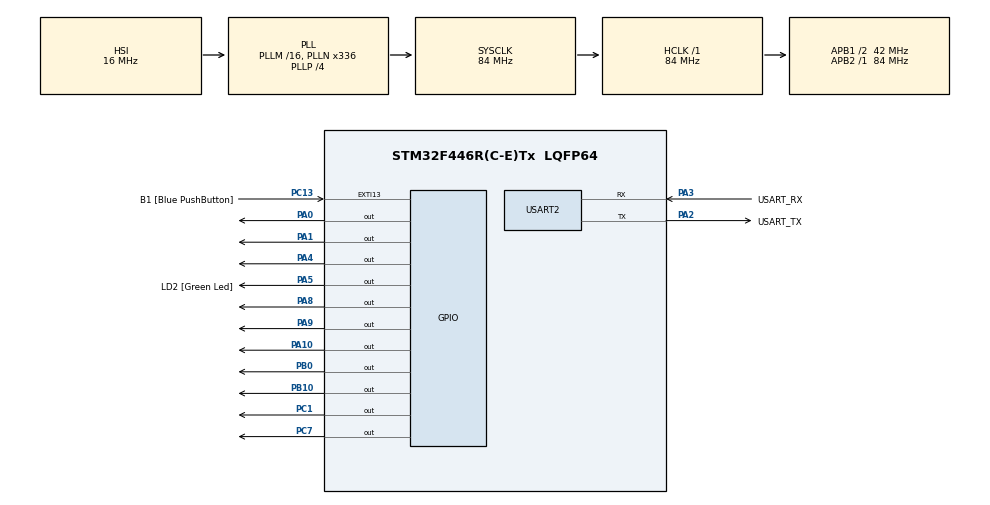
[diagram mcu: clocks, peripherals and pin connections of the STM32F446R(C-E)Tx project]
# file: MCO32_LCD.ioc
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Mcu.Family=STM32F4
Mcu.Name=STM32F446R(C-E)Tx
Mcu.Package=LQFP64
NVIC.PriorityGroup=NVIC_PRIORITYGROUP_0
PA0-WKUP.Signal=GPIO_Output
PA1.Signal=GPIO_Output
PA10.Signal=GPIO_Output
PA13.GPIO_Label=TMS
PA13.Mode=Serial_Wire
PA13.Signal=SYS_JTMS-SWDIO
PA14.GPIO_Label=TCK
PA14.Mode=Serial_Wire
PA14.Signal=SYS_JTCK-SWCLK
PA2.GPIO_Label=USART_TX
PA2.Mode=Asynchronous
PA2.Signal=USART2_TX
PA3.GPIO_Label=USART_RX
PA3.Mode=Asynchronous
PA3.Signal=USART2_RX
PA4.Signal=GPIO_Output
PA5.GPIO_Label=LD2 [Green Led]
PA5.Signal=GPIO_Output
PA8.Signal=GPIO_Output
PA9.Signal=GPIO_Output
PB0.Signal=GPIO_Output
PB10.Signal=GPIO_Output
PB3.GPIO_Label=SWO
PB3.Signal=SYS_JTDO-SWO
PC1.Signal=GPIO_Output
PC13.GPIO_Label=B1 [Blue PushButton]
PC13.GPIO_ModeDefaultEXTI=GPIO_MODE_IT_FALLING
PC13.Signal=GPXTI13
PC14-OSC32_IN.Mode=LSE-External-Oscillator
PC14-OSC32_IN.Signal=RCC_OSC32_IN
PC15-OSC32_OUT.Mode=LSE-External-Oscillator
PC15-OSC32_OUT.Signal=RCC_OSC32_OUT
PC7.Signal=GPIO_Output
PH0-OSC_IN.Mode=HSE-External-Oscillator
PH0-OSC_IN.Signal=RCC_OSC_IN
PH1-OSC_OUT.Mode=HSE-External-Oscillator
PH1-OSC_OUT.Signal=RCC_OSC_OUT
ProjectManager.HeapSize=0x200
ProjectManager.StackSize=0x400
ProjectManager.TargetToolchain=STM32CubeIDE
RCC.48MHZClocksFreq_Value=84000000
RCC.AHBFreq_Value=84000000
RCC.APB1CLKDivider=RCC_HCLK_DIV2
RCC.APB1Freq_Value=42000000
RCC.APB1TimFreq_Value=84000000
RCC.APB2Freq_Value=84000000
RCC.APB2TimFreq_Value=84000000
RCC.CortexFreq_Value=84000000
RCC.FLatency-AdvancedSettings=FLASH_LATENCY_2
RCC.HCLKFreq_Value=84000000
RCC.HSE_VALUE=8000000
RCC.HSI_VALUE=16000000
RCC.PLLN=336
RCC.PLLP=RCC_PLLP_DIV4
RCC.SYSCLKFreq_VALUE=84000000
RCC.SYSCLKSource=RCC_SYSCLKSOURCE_PLLCLK
RCC.USBFreq_Value=168000000
RCC.VCOOutputFreq_Value=336000000
TIM1.AutoReloadPreload=TIM_AUTORELOAD_PRELOAD_ENABLE
TIM1.Period=0xFFFF-1
TIM1.Prescaler=84-1
USART2.VirtualMode=VM_ASYNC
VP_TIM1_VS_ClockSourceINT.Mode=Internal
board=NUCLEO-F446RE

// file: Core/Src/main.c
/* USER CODE BEGIN Header */
/**
  ******************************************************************************
  * @file           : main.c
  * @brief          : Main program body
  ******************************************************************************
  * @attention
  *
  * Copyright (c) 2022 STMicroelectronics.
  * All rights reserved.
  *
  * This software is licensed under terms that can be found in the LICENSE file
  * in the root directory of this software component.
  * If no LICENSE file comes with this software, it is provided AS-IS.
  *
  ******************************************************************************
  */
/* USER CODE END Header */
#include "main.h"

/* USER CODE BEGIN Includes */
#include "fonts.h"
#include "tft.h"
#include "user_setting.h"
#include "functions.h"
#include "stdio.h"
/* USER CODE END Includes */

TIM_HandleTypeDef htim1;

UART_HandleTypeDef huart2;

/* USER CODE BEGIN PV */
uint16_t ID = 0;
extern const unsigned short tolkien_x236_y316[];
/* USER CODE END PV */

void SystemClock_Config(void);
static void MX_GPIO_Init(void);
static void MX_USART2_UART_Init(void);
static void MX_TIM1_Init(void);

int main(void)
{

  /* MCU Configuration--------------------------------------------------------*/

  /* Reset of all peripherals, Initializes the Flash interface and the Systick. */
  HAL_Init();

  /* USER CODE BEGIN Init */
  //tft_gpio_init();
  /* USER CODE END Init */

  /* Configure the system clock */
  SystemClock_Config();

  /* Initialize all configured peripherals */
  MX_GPIO_Init();
  MX_USART2_UART_Init();
  MX_TIM1_Init();

  /* USER CODE BEGIN 2 */
  /* Sequência de inicialização do LCD */
  tft_gpio_init(); //Inicializa os GPIOs do LCD (evita uso do CubeMX)
  HAL_TIM_Base_Start(&htim1); //Inicializa o Timer1 (base de tempo de us do LCD)
  ID = tft_readID(); //Lê o ID do LCD (poderia ser chamada pela inicialização do LCD)
  HAL_Delay(100);
  tft_init(ID); //Inicializa o LCD de acordo com seu ID
  setRotation(0); //Ajusta a orientação da tela (retrato)
  fillScreen(BLACK); //Preenche a tela em uma só cor

  /* Funções de teste do LCD */
  testFillScreen();
  testLines(CYAN);
  testFastLines(RED, BLUE);
  testFilledCircles(10, MAGENTA);
  testCircles(10, WHITE);
  fillScreen(BLACK);

  /* Demonstração de scroll de texto */
  setRotation(0); //0: Retrato | 1: Paisagem
  printnewtstr(20, GREEN, &mono12x7bold, 1, (uint8_t *)"HELLO WORLD");
  scrollup(100);
  HAL_Delay(2000);

  /* Demonstração de inversão de cores do LCD (efeito negativo)*/
  invertDisplay(1);
  HAL_Delay(2000);
  invertDisplay(0);

  /* Exibe o ID do controlador do display*/
  fillScreen(BLACK);
  char codigoID[15];
  sprintf(codigoID, "ID=%x\r\n", ID);
  printnewtstr(20, GREEN, &mono12x7bold, 1, (uint8_t *) &codigoID);
  HAL_Delay(2000);

  /**
   * Exibir imagem:
   * - Posição do canto inferior esquerdo para começar a desenhar (x, y)
   * - Endereço do vetor da imagem
   * - Dimensões em pixels (w, h)
   */
  drawRGBBitmap(1, 319, tolkien_x236_y316, 236, 316);

  /* USER CODE END 2 */

  /* Infinite loop */
  while (1)
  {

  }
}

void SystemClock_Config(void)
{
  RCC_OscInitTypeDef RCC_OscInitStruct = {0};
  RCC_ClkInitTypeDef RCC_ClkInitStruct = {0};

  /** Configure the main internal regulator output voltage
  */
  __HAL_RCC_PWR_CLK_ENABLE();
  __HAL_PWR_VOLTAGESCALING_CONFIG(PWR_REGULATOR_VOLTAGE_SCALE3);

  /** Initializes the RCC Oscillators according to the specified parameters
  * in the RCC_OscInitTypeDef structure.
  */
  RCC_OscInitStruct.OscillatorType = RCC_OSCILLATORTYPE_HSI;
  RCC_OscInitStruct.HSIState = RCC_HSI_ON;
  RCC_OscInitStruct.HSICalibrationValue = RCC_HSICALIBRATION_DEFAULT;
  RCC_OscInitStruct.PLL.PLLState = RCC_PLL_ON;
  RCC_OscInitStruct.PLL.PLLSource = RCC_PLLSOURCE_HSI;
  RCC_OscInitStruct.PLL.PLLM = 16;
  RCC_OscInitStruct.PLL.PLLN = 336;
  RCC_OscInitStruct.PLL.PLLP = RCC_PLLP_DIV4;
  RCC_OscInitStruct.PLL.PLLQ = 2;
  RCC_OscInitStruct.PLL.PLLR = 2;
  if (HAL_RCC_OscConfig(&RCC_OscInitStruct) != HAL_OK)
  {
    Error_Handler();
  }

  /** Initializes the CPU, AHB and APB buses clocks
  */
  RCC_ClkInitStruct.ClockType = RCC_CLOCKTYPE_HCLK|RCC_CLOCKTYPE_SYSCLK
                              |RCC_CLOCKTYPE_PCLK1|RCC_CLOCKTYPE_PCLK2;
  RCC_ClkInitStruct.SYSCLKSource = RCC_SYSCLKSOURCE_PLLCLK;
  RCC_ClkInitStruct.AHBCLKDivider = RCC_SYSCLK_DIV1;
  RCC_ClkInitStruct.APB1CLKDivider = RCC_HCLK_DIV2;
  RCC_ClkInitStruct.APB2CLKDivider = RCC_HCLK_DIV1;

  if (HAL_RCC_ClockConfig(&RCC_ClkInitStruct, FLASH_LATENCY_2) != HAL_OK)
  {
    Error_Handler();
  }
}

static void MX_TIM1_Init(void)
{

  TIM_ClockConfigTypeDef sClockSourceConfig = {0};
  TIM_MasterConfigTypeDef sMasterConfig = {0};

  htim1.Instance = TIM1;
  htim1.Init.Prescaler = 84-1;
  htim1.Init.CounterMode = TIM_COUNTERMODE_UP;
  htim1.Init.Period = 0xFFFF-1;
  htim1.Init.ClockDivision = TIM_CLOCKDIVISION_DIV1;
  htim1.Init.RepetitionCounter = 0;
  htim1.Init.AutoReloadPreload = TIM_AUTORELOAD_PRELOAD_ENABLE;
  if (HAL_TIM_Base_Init(&htim1) != HAL_OK)
  {
    Error_Handler();
  }
  sClockSourceConfig.ClockSource = TIM_CLOCKSOURCE_INTERNAL;
  if (HAL_TIM_ConfigClockSource(&htim1, &sClockSourceConfig) != HAL_OK)
  {
    Error_Handler();
  }
  sMasterConfig.MasterOutputTrigger = TIM_TRGO_RESET;
  sMasterConfig.MasterSlaveMode = TIM_MASTERSLAVEMODE_DISABLE;
  if (HAL_TIMEx_MasterConfigSynchronization(&htim1, &sMasterConfig) != HAL_OK)
  {
    Error_Handler();
  }

}

static void MX_USART2_UART_Init(void)
{

  huart2.Instance = USART2;
  huart2.Init.BaudRate = 115200;
  huart2.Init.WordLength = UART_WORDLENGTH_8B;
  huart2.Init.StopBits = UART_STOPBITS_1;
  huart2.Init.Parity = UART_PARITY_NONE;
  huart2.Init.Mode = UART_MODE_TX_RX;
  huart2.Init.HwFlowCtl = UART_HWCONTROL_NONE;
  huart2.Init.OverSampling = UART_OVERSAMPLING_16;
  if (HAL_UART_Init(&huart2) != HAL_OK)
  {
    Error_Handler();
  }

}

static void MX_GPIO_Init(void)
{
  GPIO_InitTypeDef GPIO_InitStruct = {0};

  /* GPIO Ports Clock Enable */
  __HAL_RCC_GPIOC_CLK_ENABLE();
  __HAL_RCC_GPIOH_CLK_ENABLE();
  __HAL_RCC_GPIOA_CLK_ENABLE();
  __HAL_RCC_GPIOB_CLK_ENABLE();

  /*Configure GPIO pin Output Level */
  HAL_GPIO_WritePin(GPIOC, GPIO_PIN_1|GPIO_PIN_7, GPIO_PIN_RESET);

  /*Configure GPIO pin Output Level */
  HAL_GPIO_WritePin(GPIOA, GPIO_PIN_0|GPIO_PIN_1|GPIO_PIN_4|LD2_Pin
                          |GPIO_PIN_8|GPIO_PIN_9|GPIO_PIN_10, GPIO_PIN_RESET);

  /*Configure GPIO pin Output Level */
  HAL_GPIO_WritePin(GPIOB, GPIO_PIN_0|GPIO_PIN_10, GPIO_PIN_RESET);

  /*Configure GPIO pin : B1_Pin */
  GPIO_InitStruct.Pin = B1_Pin;
  GPIO_InitStruct.Mode = GPIO_MODE_IT_FALLING;
  GPIO_InitStruct.Pull = GPIO_NOPULL;
  HAL_GPIO_Init(B1_GPIO_Port, &GPIO_InitStruct);

  /*Configure GPIO pins : PC1 PC7 */
  GPIO_InitStruct.Pin = GPIO_PIN_1|GPIO_PIN_7;
  GPIO_InitStruct.Mode = GPIO_MODE_OUTPUT_PP;
  GPIO_InitStruct.Pull = GPIO_NOPULL;
  GPIO_InitStruct.Speed = GPIO_SPEED_FREQ_LOW;
  HAL_GPIO_Init(GPIOC, &GPIO_InitStruct);

  /*Configure GPIO pins : PA0 PA1 PA4 LD2_Pin
                           PA8 PA9 PA10 */
  GPIO_InitStruct.Pin = GPIO_PIN_0|GPIO_PIN_1|GPIO_PIN_4|LD2_Pin
                          |GPIO_PIN_8|GPIO_PIN_9|GPIO_PIN_10;
  GPIO_InitStruct.Mode = GPIO_MODE_OUTPUT_PP;
  GPIO_InitStruct.Pull = GPIO_NOPULL;
  GPIO_InitStruct.Speed = GPIO_SPEED_FREQ_LOW;
  HAL_GPIO_Init(GPIOA, &GPIO_InitStruct);

  /*Configure GPIO pins : PB0 PB10 */
  GPIO_InitStruct.Pin = GPIO_PIN_0|GPIO_PIN_10;
  GPIO_InitStruct.Mode = GPIO_MODE_OUTPUT_PP;
  GPIO_InitStruct.Pull = GPIO_NOPULL;
  GPIO_InitStruct.Speed = GPIO_SPEED_FREQ_LOW;
  HAL_GPIO_Init(GPIOB, &GPIO_InitStruct);

}

void Error_Handler(void)
{
  __disable_irq();
  while (1)
  {
  }
}
